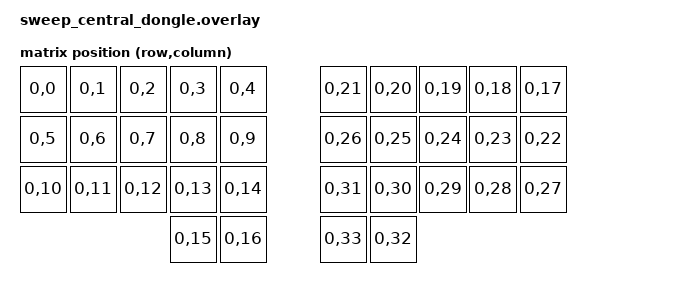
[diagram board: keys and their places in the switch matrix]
/*
 * Copyright (c) 2020 The ZMK Contributors
 *
 * SPDX-License-Identifier: MIT
 */
#include <dt-bindings/zmk/matrix_transform.h>

/ {
    chosen {
        zmk,kscan = &mock_kscan;
        zmk,matrix-transform = &default_transform;
        zephyr,display = &oled;
    };

    default_transform: keymap_transform_0 {
        compatible = "zmk,matrix-transform";
        columns = <34>;
        rows = <1>;
        map = <
        RC(0,0)  RC(0,1)  RC(0,2)  RC(0,3)  RC(0,4)    RC(0,21) RC(0,20) RC(0,19) RC(0,18) RC(0,17)
        RC(0,5)  RC(0,6)  RC(0,7)  RC(0,8)  RC(0,9)    RC(0,26) RC(0,25) RC(0,24) RC(0,23) RC(0,22)
        RC(0,10) RC(0,11) RC(0,12) RC(0,13) RC(0,14)   RC(0,31) RC(0,30) RC(0,29) RC(0,28) RC(0,27)
                                   RC(0,15) RC(0,16)   RC(0,33) RC(0,32)
        >;
    };

    mock_kscan: kscan_0 {
        compatible = "zmk,kscan-mock";
        columns = <1>;
        rows = <0>;
        events = <>;
    };
};

&xiao_i2c {
    status = "okay";
    
    oled: ssd1306@3c {
        compatible = "solomon,ssd1306fb";
        reg = <0x3c>;
        width = <128>;
        height = <64>;
        segment-offset = <0>;
        page-offset = <0>;
        display-offset = <0>;
        multiplex-ratio = <63>;
        segment-remap;
        com-invdir;
        inversion-on;
        prechargep = <0x22>;
    };
}; 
